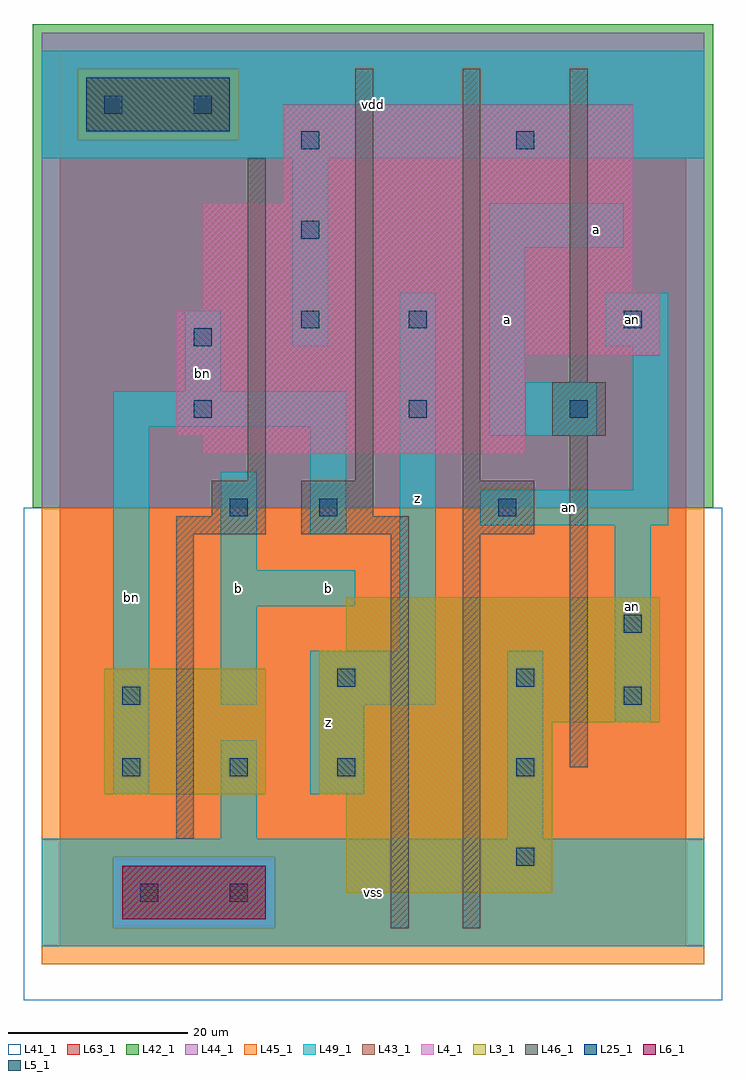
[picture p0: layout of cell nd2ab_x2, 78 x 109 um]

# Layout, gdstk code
import gdstk
lib = gdstk.Library(unit=1e-6, precision=1e-09)
def R(c, l, rs):  # rectangles x0, y0, x1, y1
    for r in rs: c.add(gdstk.rectangle(r[:2], r[2:], *l))
def A(c, l, x, y, w, h, nx, ny, dx, dy):  # array of equal rectangles
    R(c, l, [(x+i*dx, y+j*dy, x+i*dx+w, y+j*dy+h) for i in range(nx) for j in range(ny)])
L3_1 = (3, 1)
L4_1 = (4, 1)
L5_1 = (5, 1)
L6_1 = (6, 1)
L25_1 = (25, 1)
L41_1 = (41, 1)
L42_1 = (42, 1)
L43_1 = (43, 1)
L44_1 = (44, 1)
L45_1 = (45, 1)
L46_1 = (46, 1)
L49_1 = (49, 1)
L63_1 = (63, 1)

nd2ab_x2 = lib.new_cell('nd2ab_x2')
R(nd2ab_x2, L3_1, [(32,6,55,17), (5,17,23,31), (29,17,55,25), (29,25,67,33), (32,33,67,39)])
R(nd2ab_x2, L4_1, [(16,55,52,57), (13,57,52,66), (13,66,67,71), (16,71,67,73), (16,73,64,83), (25,83,64,94)])
R(nd2ab_x2, L5_1, [(3,91,19,97)])
R(nd2ab_x2, L6_1, [(7,3,23,9)])
A(nd2ab_x2, L25_1, 51, 9, 2, 2, 1, 3, 0, 10)
A(nd2ab_x2, L25_1, 7, 19, 2, 2, 3, 1, 12, 0)
A(nd2ab_x2, L25_1, 27, 69, 2, 2, 1, 3, 0, 10)
R(nd2ab_x2, L25_1, [(9,5,11,7), (19,5,21,7), (7,27,9,29), (63,27,65,29), (31,29,33,31), (63,35,65,37), (19,48,21,50), (29,48,31,50), (49,48,51,50), (15,59,17,61), (39,59,41,61), (57,59,59,61), (15,67,17,69), (39,69,41,71), (63,69,65,71), (51,89,53,91), (5,93,7,95), (15,93,17,95)])
R(nd2ab_x2, L41_1, [(-4,-6,74,49), (-3,-3,73,49)])
R(nd2ab_x2, L42_1, [(-3,49,73,103)])
R(nd2ab_x2, L43_1, [(7,3,23,9), (32,6,55,17), (5,17,23,31), (29,17,55,25), (29,25,67,33), (32,33,67,39), (16,55,52,57), (13,57,52,66), (13,66,67,71), (16,71,67,73), (16,73,64,83), (25,83,64,94), (3,91,19,97)])
R(nd2ab_x2, L44_1, [(6,2,24,10), (-2,49,72,90), (-2,90,2,98), (20,90,72,98), (-2,98,72,102)])
R(nd2ab_x2, L45_1, [(-2,-2,72,2), (-2,2,6,10), (24,2,72,10), (-2,10,72,49), (2,90,20,98)])
R(nd2ab_x2, L46_1, [(37,2,39,46), (45,2,47,46), (13,12,15,46), (57,20,59,57), (13,46,23,48), (27,46,39,48), (45,46,53,52), (17,48,23,52), (27,48,35,52), (21,52,23,88), (33,52,35,98), (45,52,47,98), (55,57,61,63), (57,63,59,98)])
A(nd2ab_x2, L49_1, 18, 12, 4, 11, 1, 3, 0, 15)
R(nd2ab_x2, L49_1, [(-2,0,72,12), (50,12,54,33), (6,17,10,58), (28,17,34,27), (62,25,66,47), (28,27,42,33), (38,33,42,73), (18,38,33,42), (28,46,32,58), (47,47,68,51), (64,51,68,67), (48,57,60,63), (6,58,32,62), (14,62,18,71), (48,63,52,78), (26,67,30,88), (61,67,68,73), (48,78,63,83), (-2,88,72,100)])
R(nd2ab_x2, L63_1, [(0,0,70,100)])
nd2ab_x2.add(gdstk.Label('bn', (8,39), layer=49, texttype=1))
nd2ab_x2.add(gdstk.Label('z', (30,25), layer=49, texttype=1))
nd2ab_x2.add(gdstk.Label('z', (30,25), layer=49, texttype=1))
nd2ab_x2.add(gdstk.Label('b', (20,40), layer=49, texttype=1))
nd2ab_x2.add(gdstk.Label('b', (20,40), layer=49, texttype=1))
nd2ab_x2.add(gdstk.Label('b', (30,40), layer=49, texttype=1))
nd2ab_x2.add(gdstk.Label('b', (30,40), layer=49, texttype=1))
nd2ab_x2.add(gdstk.Label('bn', (16,64), layer=49, texttype=1))
nd2ab_x2.add(gdstk.Label('vss', (35,6), layer=49, texttype=1))
nd2ab_x2.add(gdstk.Label('vss', (35,6), layer=49, texttype=1))
nd2ab_x2.add(gdstk.Label('z', (40,50), layer=49, texttype=1))
nd2ab_x2.add(gdstk.Label('z', (40,50), layer=49, texttype=1))
nd2ab_x2.add(gdstk.Label('a', (50,70), layer=49, texttype=1))
nd2ab_x2.add(gdstk.Label('a', (50,70), layer=49, texttype=1))
nd2ab_x2.add(gdstk.Label('vdd', (35,94), layer=49, texttype=1))
nd2ab_x2.add(gdstk.Label('vdd', (35,94), layer=49, texttype=1))
nd2ab_x2.add(gdstk.Label('an', (57,49), layer=49, texttype=1))
nd2ab_x2.add(gdstk.Label('an', (64,38), layer=49, texttype=1))
nd2ab_x2.add(gdstk.Label('an', (64,70), layer=49, texttype=1))
nd2ab_x2.add(gdstk.Label('a', (60,80), layer=49, texttype=1))
nd2ab_x2.add(gdstk.Label('a', (60,80), layer=49, texttype=1))

lib.write_gds('nd2ab_x2.gds')
